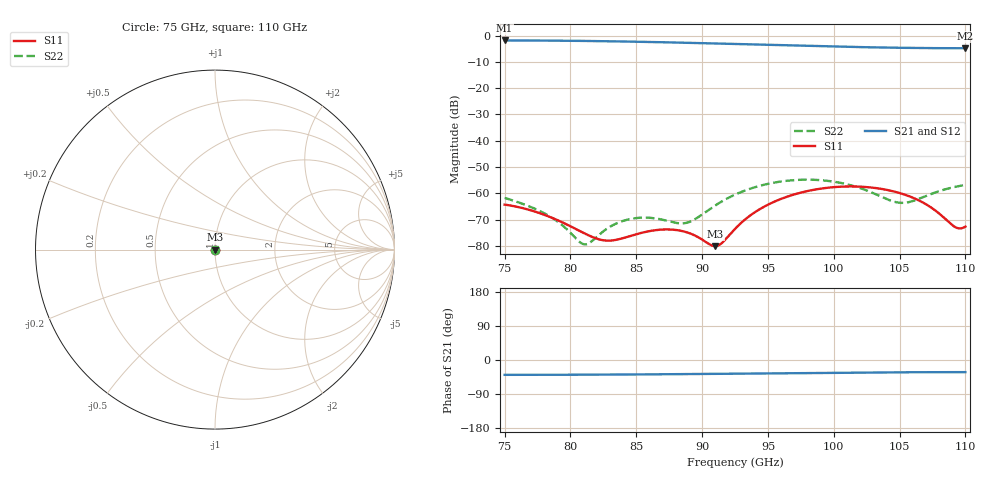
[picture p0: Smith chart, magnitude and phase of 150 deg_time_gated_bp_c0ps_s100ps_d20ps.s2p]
# Hz S RI R 50.000000
! Metas.Vna.Tools, 2.4.7724.19584
! Metas.Vna.Data, 2.4.7724.19560
! Created: UTC 2021.04.29 12:40:11
! FREQ  re:S1,1  im:S1,1  re:S2,1  im:S2,1  re:S1,2  im:S1,2  re:S2,2  im:S2,2
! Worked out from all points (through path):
!   1401 points, 75 GHz to 110 GHz, reference 50 ohm
!   highest |S21| = -1.84 dB at 75 GHz (marker M1); lowest = -4.8 dB at 110 GHz (marker M2)
!   lowest |S11| = -80.1 dB at 91 GHz (marker M3), VSWR 1.00, Z = 50 + j0.00416 ohm
!   |S11| at or under -10 dB: start of sweep to end of sweep
!   |S22| runs from -79.4 to -54.8 dB; largest |S21 - S12| = 0.044
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7.5e10  0.000566 0.00023  0.6274 -0.5115  0.6198 -0.5203  0.000819 2.1e-05
7.835e10  0.000354 -7.8e-05  0.6245 -0.5068  0.6167 -0.516  0.000314 0.000205
7.9375e10  0.000247 -0.000134  0.6225 -0.5037  0.6146 -0.513  0.000166 0.000185
8.085e10  9.07e-05 -0.000161  0.6186 -0.4977  0.6106 -0.5074  -2.52e-05 0.000109
8.1425e10  3.44e-05 -0.000153  0.6168 -0.4949  0.6087 -0.5048  -8.96e-05 6.94e-05
8.295e10  -8.68e-05 -9.14e-05  0.6114 -0.4865  0.603 -0.497  -0.000222 -4.73e-05
8.4725e10  -0.000157 2.67e-05  0.6039 -0.4749  0.5951 -0.4864  -0.000282 -0.000174
8.6675e10  -0.000139 0.000147  0.5943 -0.4602  0.5848 -0.473  -0.000199 -0.000259
8.8825e10  -3.44e-05 0.000179  0.5824 -0.4422  0.572 -0.4569  9.21e-05 -0.000259
9.1e10  8.97e-05 4.16e-05  0.5694 -0.4226  0.5578 -0.4398  0.000565 -0.000162
9.15e10  0.000112 -1.5e-05  0.5663 -0.418  0.5544 -0.4358  0.00069 -0.000129
9.25e10  0.000145 -0.000153  0.5601 -0.4088  0.5476 -0.4278  0.000943 -5.41e-05
9.365e10  0.000158 -0.000344  0.5529 -0.3981  0.5396 -0.4187  0.00122 4.19e-05
9.5e10  0.000136 -0.000592  0.5445 -0.3858  0.5301 -0.4082  0.00151 0.00016
9.6575e10  6.58e-05 -0.000881  0.535 -0.3718  0.5193 -0.3964  0.00172 0.000293
9.835e10  -4.68e-05 -0.00115  0.5247 -0.3569  0.5076 -0.3841  0.00176 0.000425
1.01225e11  -0.000198 -0.00134  0.5099 -0.3357  0.4906 -0.3669  0.00132 0.000577
1.04175e11  -0.000178 -0.00113  0.4982 -0.3189  0.4769 -0.3535  0.000378 0.000649
1.05625e11  -9.25e-05 -0.000896  0.4939 -0.3129  0.4719 -0.3487  -0.000141 0.00066
1.07325e11  4.3e-05 -0.000551  0.4904 -0.3079  0.4678 -0.3448  -0.000692 0.000661
1.09225e11  0.000188 -0.000129  0.4885 -0.3052  0.4655 -0.3427  -0.00115 0.000667
1.1e11  0.00023 3.89e-05  0.4883 -0.3049  0.4653 -0.3425  -0.00128 0.000677
